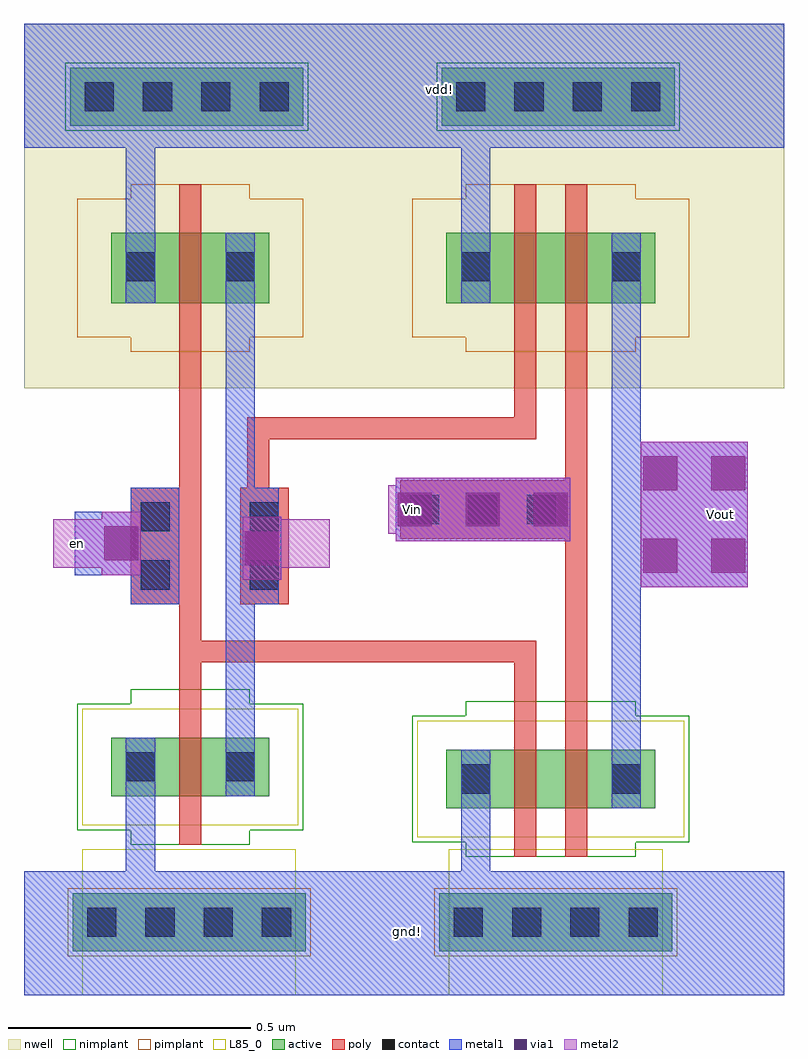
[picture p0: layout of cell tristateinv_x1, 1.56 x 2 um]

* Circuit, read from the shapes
.subckt tristateinv_x1 Vin Vout en gnd! vdd!
M1 inv_x1_1/Vout en gnd! gnd! nfet w=0.12u l=0.045u
M2 n1 en gnd! gnd! nfet w=0.12u l=0.045u
M3 Vout Vin n1 gnd! nfet w=0.12u l=0.045u
M4 inv_x1_1/Vout en vdd! vdd! pfet w=0.145u l=0.045u
M5 n2 inv_x1_1/Vout vdd! vdd! pfet w=0.145u l=0.045u
M6 Vout Vin n2 vdd! pfet w=0.145u l=0.045u
.ends

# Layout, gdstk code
from math import pi, radians
import gdstk
lib = gdstk.Library(unit=1e-6, precision=5e-10)
def R(c, l, rs):  # rectangles x0, y0, x1, y1
    for r in rs: c.add(gdstk.rectangle(r[:2], r[2:], *l))
def A(c, l, x, y, w, h, nx, ny, dx, dy):  # array of equal rectangles
    R(c, l, [(x+i*dx, y+j*dy, x+i*dx+w, y+j*dy+h) for i in range(nx) for j in range(ny)])
active = (1, 0)
nwell = (2, 0)
poly = (3, 0)
nimplant = (4, 0)
pimplant = (5, 0)
contact = (6, 0)
metal1 = (7, 0)
via1 = (8, 0)
metal2 = (9, 0)
L85_0 = (85, 0)

nmos1v_cdns_764110544150 = lib.new_cell('nmos1v_CDNS_764110544150')
R(nmos1v_cdns_764110544150, active, [(-0.03,0,0,0.12), (0,0,0.045,0.12), (0.045,0,0.185,0.12)])
R(nmos1v_cdns_764110544150, poly, [(0,-0.1,0.045,-0.05), (0,-0.05,0.045,0), (0,0,0.045,0.12), (0,0.12,0.045,0.17), (0,0.17,0.045,0.22)])
R(nmos1v_cdns_764110544150, nimplant, [(-0.1,-0.1,0.145,0.22), (-0.1,-0.07,0.255,0.19)])
R(nmos1v_cdns_764110544150, contact, [(0.095,0.03,0.155,0.09)])
R(nmos1v_cdns_764110544150, metal1, [(0.095,0,0.155,0.12)])
R(nmos1v_cdns_764110544150, L85_0, [(-0.09,-0.06,0.245,0.18)])

nmos1v_cdns_764110544151 = lib.new_cell('nmos1v_CDNS_764110544151')
R(nmos1v_cdns_764110544151, active, [(-0.14,0,0,0.12), (0,0,0.045,0.12), (0.045,0,0.185,0.12)])
R(nmos1v_cdns_764110544151, poly, [(0,-0.1,0.045,-0.05), (0,-0.05,0.045,0), (0,0,0.045,0.12), (0,0.12,0.045,0.17), (0,0.17,0.045,0.22)])
R(nmos1v_cdns_764110544151, nimplant, [(-0.1,-0.1,0.145,0.22), (-0.21,-0.07,0.255,0.19)])
R(nmos1v_cdns_764110544151, contact, [(-0.11,0.03,-0.05,0.09), (0.095,0.03,0.155,0.09)])
R(nmos1v_cdns_764110544151, metal1, [(-0.11,0,-0.05,0.12), (0.095,0,0.155,0.12)])
R(nmos1v_cdns_764110544151, L85_0, [(-0.2,-0.06,0.245,0.18)])

pmos1v_cdns_764110544152 = lib.new_cell('pmos1v_CDNS_764110544152')
R(pmos1v_cdns_764110544152, active, [(-0.14,0,0,0.145), (0,0,0.045,0.145), (0.045,0,0.185,0.145)])
R(pmos1v_cdns_764110544152, nwell, [(-0.2,-0.06,0.245,0.205)])
R(pmos1v_cdns_764110544152, poly, [(0,-0.1,0.045,-0.05), (0,-0.05,0.045,0), (0,0,0.045,0.145), (0,0.145,0.045,0.195), (0,0.195,0.045,0.245)])
R(pmos1v_cdns_764110544152, pimplant, [(-0.1,-0.1,0.145,0.245), (-0.21,-0.07,0.255,0.215)])
R(pmos1v_cdns_764110544152, contact, [(-0.11,0.045,-0.05,0.105), (0.095,0.045,0.155,0.105)])
R(pmos1v_cdns_764110544152, metal1, [(-0.11,0,-0.05,0.145), (0.095,0,0.155,0.145)])

m1_psub_cdns_76411054415 = lib.new_cell('M1_PSUB_CDNS_764110544155')
R(m1_psub_cdns_76411054415, active, [(-0.24,-0.06,0.24,0.06)])
R(m1_psub_cdns_76411054415, pimplant, [(-0.25,-0.07,0.25,0.07)])
A(m1_psub_cdns_76411054415, contact, -0.21, -0.03, 0.06, 0.06, 4, 1, 0.12, 0)
R(m1_psub_cdns_76411054415, metal1, [(-0.21,-0.06,0.21,0.06)])
R(m1_psub_cdns_76411054415, L85_0, [(-0.22,-0.15,0.22,0.15)])

m1_po_cdns_764110544156 = lib.new_cell('M1_PO_CDNS_764110544156')
R(m1_po_cdns_764110544156, poly, [(-0.05,-0.12,0.05,0.12)])
R(m1_po_cdns_764110544156, contact, [(-0.03,-0.09,0.03,-0.03), (-0.03,0.03,0.03,0.09)])
R(m1_po_cdns_764110544156, metal1, [(-0.05,-0.12,0.05,0.12)])

m2_m1_cdns_764110544157 = lib.new_cell('M2_M1_CDNS_764110544157')
R(m2_m1_cdns_764110544157, metal1, [(-0.04,-0.065,0.04,0.065)])
R(m2_m1_cdns_764110544157, via1, [(-0.035,-0.035,0.035,0.035)])
R(m2_m1_cdns_764110544157, metal2, [(-0.04,-0.065,0.04,0.065)])

m2_m1_cdns_764110544158 = lib.new_cell('M2_M1_CDNS_764110544158')
R(m2_m1_cdns_764110544158, metal1, [(-0.095,-0.065,0.095,0.065)])
R(m2_m1_cdns_764110544158, via1, [(-0.035,-0.035,0.035,0.035)])
R(m2_m1_cdns_764110544158, metal2, [(-0.04,-0.065,0.04,0.065)])

m1_nwell_cdns_7641105441 = lib.new_cell('M1_NWELL_CDNS_764110544154')
R(m1_nwell_cdns_7641105441, active, [(-0.24,-0.06,0.24,0.06)])
R(m1_nwell_cdns_7641105441, nwell, [(-0.27,-0.15,0.27,0.15)])
R(m1_nwell_cdns_7641105441, nimplant, [(-0.25,-0.07,0.25,0.07)])
A(m1_nwell_cdns_7641105441, contact, -0.21, -0.03, 0.06, 0.06, 4, 1, 0.12, 0)
R(m1_nwell_cdns_7641105441, metal1, [(-0.21,-0.06,0.21,0.06)])

inv_x1 = lib.new_cell('inv_x1')
R(inv_x1, nwell, [(0,1.25,0.675,2)])
R(inv_x1, metal1, [(0,0,0.675,0.255), (0.275,0.035,0.375,0.135), (0,1.745,0.675,2), (0.3,1.895,0.4,1.995)])
R(inv_x1, metal2, [(0.06,0.88,0.16,0.98), (0.53,0.88,0.63,0.98)])
inv_x1.add(gdstk.FlexPath([(0.3425,1.325),(0.3425,0.63)], 0.045, ends="flush", simple_path=True, layer=3, datatype=0))  # poly
inv_x1.add(gdstk.FlexPath([(0.24,1.545),(0.24,1.93)], 0.06, ends=(0, 0.07), simple_path=True, layer=7, datatype=0))  # metal1
inv_x1.add(gdstk.FlexPath([(0.24,0.41),(0.24,0.07)], 0.06, ends=(0, 0.07), simple_path=True, layer=7, datatype=0))  # metal1
inv_x1.add(gdstk.FlexPath([(0.445,1.425),(0.445,0.53)], 0.06, ends="flush", simple_path=True, layer=7, datatype=0))  # metal1
inv_x1.add(gdstk.Reference(nmos1v_cdns_764110544151, (0.32,0.41)))
inv_x1.add(gdstk.Reference(pmos1v_cdns_764110544152, (0.32,1.425)))
inv_x1.add(gdstk.Reference(m1_psub_cdns_76411054415, (0.34,0.15)))
inv_x1.add(gdstk.Reference(m1_po_cdns_764110544156, (0.27,0.925)))
inv_x1.add(gdstk.Reference(m2_m1_cdns_764110544157, (0.49,0.92)))
inv_x1.add(gdstk.Reference(m2_m1_cdns_764110544158, (0.2,0.93)))
inv_x1.add(gdstk.Reference(m1_nwell_cdns_7641105441, (0.335,1.85)))
inv_x1.add(gdstk.Label('vdd!', (0.35,1.945), layer=7, texttype=0))
inv_x1.add(gdstk.Label('gnd!', (0.325,0.085), layer=7, texttype=0))
inv_x1.add(gdstk.Label('Vin', (0.11,0.93), layer=9, texttype=0))
inv_x1.add(gdstk.Label('Vout', (0.58,0.93), layer=9, texttype=0))

pmos1v_cdns_764110544153 = lib.new_cell('pmos1v_CDNS_764110544153')
R(pmos1v_cdns_764110544153, active, [(-0.03,0,0,0.145), (0,0,0.045,0.145), (0.045,0,0.185,0.145)])
R(pmos1v_cdns_764110544153, nwell, [(-0.09,-0.06,0.245,0.205)])
R(pmos1v_cdns_764110544153, poly, [(0,-0.1,0.045,-0.05), (0,-0.05,0.045,0), (0,0,0.045,0.145), (0,0.145,0.045,0.195), (0,0.195,0.045,0.245)])
R(pmos1v_cdns_764110544153, pimplant, [(-0.1,-0.1,0.145,0.245), (-0.1,-0.07,0.255,0.215)])
R(pmos1v_cdns_764110544153, contact, [(0.095,0.045,0.155,0.105)])
R(pmos1v_cdns_764110544153, metal1, [(0.095,0,0.155,0.145)])

pmos1v_cdns_764110544154 = lib.new_cell('pmos1v_CDNS_764110544154')
R(pmos1v_cdns_764110544154, active, [(-0.14,0,0,0.145), (0,0,0.045,0.145), (0.045,0,0.075,0.145)])
R(pmos1v_cdns_764110544154, nwell, [(-0.2,-0.06,0.135,0.205)])
R(pmos1v_cdns_764110544154, poly, [(0,-0.1,0.045,-0.05), (0,-0.05,0.045,0), (0,0,0.045,0.145), (0,0.145,0.045,0.195), (0,0.195,0.045,0.245)])
R(pmos1v_cdns_764110544154, pimplant, [(-0.1,-0.1,0.145,0.245), (-0.21,-0.07,0.145,0.215)])
R(pmos1v_cdns_764110544154, contact, [(-0.11,0.045,-0.05,0.105)])
R(pmos1v_cdns_764110544154, metal1, [(-0.11,0,-0.05,0.145)])

nmos1v_cdns_764110544155 = lib.new_cell('nmos1v_CDNS_764110544155')
R(nmos1v_cdns_764110544155, active, [(-0.14,0,0,0.12), (0,0,0.045,0.12), (0.045,0,0.075,0.12)])
R(nmos1v_cdns_764110544155, poly, [(0,-0.1,0.045,-0.05), (0,-0.05,0.045,0), (0,0,0.045,0.12), (0,0.12,0.045,0.17), (0,0.17,0.045,0.22)])
R(nmos1v_cdns_764110544155, nimplant, [(-0.1,-0.1,0.145,0.22), (-0.21,-0.07,0.145,0.19)])
R(nmos1v_cdns_764110544155, contact, [(-0.11,0.03,-0.05,0.09)])
R(nmos1v_cdns_764110544155, metal1, [(-0.11,0,-0.05,0.12)])
R(nmos1v_cdns_764110544155, L85_0, [(-0.2,-0.06,0.135,0.18)])

m1_po_cdns_764110544150 = lib.new_cell('M1_PO_CDNS_764110544150')
R(m1_po_cdns_764110544150, poly, [(-0.05,-0.12,0.05,0.12)])
R(m1_po_cdns_764110544150, contact, [(-0.03,-0.09,0.03,-0.03), (-0.03,0.03,0.03,0.09)])
R(m1_po_cdns_764110544150, metal1, [(-0.03,-0.12,0.03,0.12)])

m1_po_cdns_764110544151 = lib.new_cell('M1_PO_CDNS_764110544151')
R(m1_po_cdns_764110544151, poly, [(-0.17,-0.06,0.17,0.06)])
A(m1_po_cdns_764110544151, contact, -0.15, -0.03, 0.06, 0.06, 3, 1, 0.12, 0)
R(m1_po_cdns_764110544151, metal1, [(-0.15,-0.06,0.15,0.06)])

m2_m1_cdns_764110544152 = lib.new_cell('M2_M1_CDNS_764110544152')
R(m2_m1_cdns_764110544152, metal1, [(-0.18,-0.065,0.18,0.065)])
A(m2_m1_cdns_764110544152, via1, -0.175, -0.035, 0.07, 0.07, 3, 1, 0.14, 0)
R(m2_m1_cdns_764110544152, metal2, [(-0.18,-0.065,0.18,0.065)])

m2_m1_cdns_764110544153 = lib.new_cell('M2_M1_CDNS_764110544153')
R(m2_m1_cdns_764110544153, metal1, [(-0.11,-0.15,0.11,0.15)])
R(m2_m1_cdns_764110544153, via1, [(-0.105,-0.12,-0.035,-0.05), (0.035,-0.12,0.105,-0.05), (-0.105,0.05,-0.035,0.12), (0.035,0.05,0.105,0.12)])
R(m2_m1_cdns_764110544153, metal2, [(-0.11,-0.15,0.11,0.15)])

tristateinv_x1 = lib.new_cell('tristateinv_x1')
R(tristateinv_x1, nwell, [(0,1.25,1.565,2)])
R(tristateinv_x1, metal1, [(0,0,1.565,0.255), (0.74,0.08,0.84,0.18), (0,1.745,1.565,2), (0.805,1.815,0.905,1.915)])
R(tristateinv_x1, metal2, [(0.06,0.88,0.16,0.98), (1.385,0.94,1.485,1.04), (0.75,0.95,0.85,1.05)])
tristateinv_x1.add(gdstk.FlexPath([(0.4825,1.1675),(0.4825,0.925)], 0.045, ends=(0.0225, 0), simple_path=True, layer=3, datatype=0))  # poly
tristateinv_x1.add(gdstk.FlexPath([(1.0325,1.1675),(0.4825,1.1675)], 0.045, ends="extended", simple_path=True, layer=3, datatype=0))  # poly
tristateinv_x1.add(gdstk.FlexPath([(1.0325,1.325),(1.0325,1.1675)], 0.045, ends=(0, 0.0225), simple_path=True, layer=3, datatype=0))  # poly
tristateinv_x1.add(gdstk.FlexPath([(1.0325,0.7075),(0.365,0.7075)], 0.045, ends=(0.0225, 0), simple_path=True, layer=3, datatype=0))  # poly
tristateinv_x1.add(gdstk.FlexPath([(1.0325,0.605),(1.0325,0.7075)], 0.045, ends=(0, 0.0225), simple_path=True, layer=3, datatype=0))  # poly
tristateinv_x1.add(gdstk.FlexPath([(1.1375,1.325),(1.1375,0.605)], 0.045, ends="flush", simple_path=True, layer=3, datatype=0))  # poly
tristateinv_x1.add(gdstk.FlexPath([(0.93,0.385),(0.93,0.255)], 0.06, ends="flush", simple_path=True, layer=7, datatype=0))  # metal1
tristateinv_x1.add(gdstk.FlexPath([(0.93,1.57),(0.93,1.745)], 0.06, ends="flush", simple_path=True, layer=7, datatype=0))  # metal1
tristateinv_x1.add(gdstk.FlexPath([(1.24,1.425),(1.24,0.505)], 0.06, ends="flush", simple_path=True, layer=7, datatype=0))  # metal1
tristateinv_x1.add(gdstk.Reference(nmos1v_cdns_764110544150, (1.115,0.385)))
tristateinv_x1.add(gdstk.Reference(inv_x1, (0,0)))
tristateinv_x1.add(gdstk.Reference(pmos1v_cdns_764110544153, (1.115,1.425)))
tristateinv_x1.add(gdstk.Reference(pmos1v_cdns_764110544154, (1.01,1.425)))
tristateinv_x1.add(gdstk.Reference(nmos1v_cdns_764110544155, (1.01,0.385)))
tristateinv_x1.add(gdstk.Reference(m1_po_cdns_764110544150, (0.495,0.925), rotation=pi))
tristateinv_x1.add(gdstk.Reference(m1_po_cdns_764110544151, (0.945,1), rotation=pi))
tristateinv_x1.add(gdstk.Reference(m2_m1_cdns_764110544152, (0.945,1)))
tristateinv_x1.add(gdstk.Reference(m2_m1_cdns_764110544153, (1.38,0.99)))
tristateinv_x1.add(gdstk.Reference(m1_nwell_cdns_7641105441, (1.1,1.85)))
tristateinv_x1.add(gdstk.Reference(m1_psub_cdns_76411054415, (1.095,0.15)))
tristateinv_x1.add(gdstk.Label('vdd!', (0.855,1.865), layer=7, texttype=0))
tristateinv_x1.add(gdstk.Label('gnd!', (0.79,0.13), layer=7, texttype=0))
tristateinv_x1.add(gdstk.Label('en', (0.11,0.93), layer=9, texttype=0))
tristateinv_x1.add(gdstk.Label('Vout', (1.435,0.99), layer=9, texttype=0))
tristateinv_x1.add(gdstk.Label('Vin', (0.8,1), layer=9, texttype=0))

lib.write_gds('tristateinv_x1.gds')
